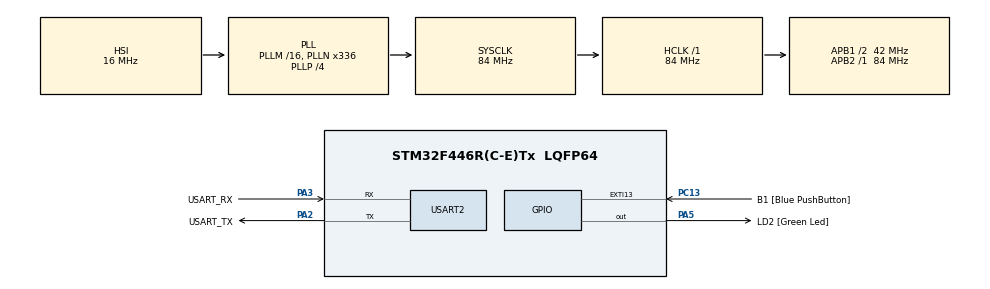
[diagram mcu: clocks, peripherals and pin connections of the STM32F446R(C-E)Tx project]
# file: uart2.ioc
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Mcu.Family=STM32F4
Mcu.Name=STM32F446R(C-E)Tx
Mcu.Package=LQFP64
NVIC.PriorityGroup=NVIC_PRIORITYGROUP_0
PA13.GPIO_Label=TMS
PA13.Mode=Serial_Wire
PA13.Signal=SYS_JTMS-SWDIO
PA14.GPIO_Label=TCK
PA14.Mode=Serial_Wire
PA14.Signal=SYS_JTCK-SWCLK
PA2.GPIO_Label=USART_TX
PA2.Mode=Asynchronous
PA2.Signal=USART2_TX
PA3.GPIO_Label=USART_RX
PA3.Mode=Asynchronous
PA3.Signal=USART2_RX
PA5.GPIO_Label=LD2 [Green Led]
PA5.Signal=GPIO_Output
PB3.GPIO_Label=SWO
PB3.Signal=SYS_JTDO-SWO
PC13.GPIO_Label=B1 [Blue PushButton]
PC13.GPIO_ModeDefaultEXTI=GPIO_MODE_IT_FALLING
PC13.Signal=GPXTI13
PC14-OSC32_IN.Mode=LSE-External-Oscillator
PC14-OSC32_IN.Signal=RCC_OSC32_IN
PC15-OSC32_OUT.Mode=LSE-External-Oscillator
PC15-OSC32_OUT.Signal=RCC_OSC32_OUT
PH0-OSC_IN.Mode=HSE-External-Oscillator
PH0-OSC_IN.Signal=RCC_OSC_IN
PH1-OSC_OUT.Mode=HSE-External-Oscillator
PH1-OSC_OUT.Signal=RCC_OSC_OUT
ProjectManager.HeapSize=0x200
ProjectManager.StackSize=0x400
ProjectManager.TargetToolchain=STM32CubeIDE
RCC.48MHZClocksFreq_Value=84000000
RCC.AHBFreq_Value=84000000
RCC.APB1CLKDivider=RCC_HCLK_DIV2
RCC.APB1Freq_Value=42000000
RCC.APB1TimFreq_Value=84000000
RCC.APB2Freq_Value=84000000
RCC.APB2TimFreq_Value=84000000
RCC.CortexFreq_Value=84000000
RCC.FLatency-AdvancedSettings=FLASH_LATENCY_2
RCC.HCLKFreq_Value=84000000
RCC.HSE_VALUE=8000000
RCC.HSI_VALUE=16000000
RCC.PLLN=336
RCC.PLLP=RCC_PLLP_DIV4
RCC.SYSCLKFreq_VALUE=84000000
RCC.SYSCLKSource=RCC_SYSCLKSOURCE_PLLCLK
RCC.USBFreq_Value=168000000
RCC.VCOOutputFreq_Value=336000000
USART2.VirtualMode=VM_ASYNC
board=NUCLEO-F446RE

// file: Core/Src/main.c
/* USER CODE BEGIN Header */
/**
 ******************************************************************************
 * @file           : main.c
 * @brief          : Main program body
 ******************************************************************************
 * @attention
 *
 * Copyright (c) 2025 STMicroelectronics.
 * All rights reserved.
 *
 * This software is licensed under terms that can be found in the LICENSE file
 * in the root directory of this software component.
 * If no LICENSE file comes with this software, it is provided AS-IS.
 *
 ******************************************************************************
 */
/* USER CODE END Header */
#include "main.h"
#include "API_delay.h"
#include "API_debounce.h"
#include <string.h>
#include <stdint.h>
#include <stdio.h>
#include <stdlib.h>

/* USER CODE BEGIN PM */
#define TIEMPO_500_MS 500
#define TIEMPO_100_MS 100
#define BUTTON_PIN GPIO_PIN_13
#define BUTTON_PORT GPIOC
#define LED_PIN GPIO_PIN_5
#define LED_PORT GPIOA

#define PROMPT	"\r\nEnter an option: "
#define WELCOME_MSG  "\r\nWelcome to the Nucleo management console\r"
#define MAIN_MENU  "\r\nSelect the option you are interested in:\r" \
                   "\r\n  1. Toggle LD2 LED\r"						\
                   "\r\n  2. Read USER BUTTON status\r"             \
                   "\r\n  3. Clear screen and print this message"

/* USER CODE END PM */

UART_HandleTypeDef huart2;

void SystemClock_Config(void);
static void MX_GPIO_Init(void);
static void MX_USART2_UART_Init(void);

/* USER CODE BEGIN 0 */
void printWelcomeMessage(void);
uint8_t readUserInput(void);
uint8_t processUserInput(uint8_t opt);
/* USER CODE END 0 */

int main(void)
{

	/* USER CODE BEGIN 1 */
	uint8_t opt = 0;
	/* USER CODE END 1 */

	/* MCU Configuration--------------------------------------------------------*/

	/* Reset of all peripherals, Initializes the Flash interface and the Systick. */
	HAL_Init();

	/* Configure the system clock */
	SystemClock_Config();

	/* Initialize all configured peripherals */
	MX_GPIO_Init();
	MX_USART2_UART_Init();
	/* USER CODE BEGIN 2 */

printMessage:
	printWelcomeMessage();

	/* USER CODE END 2 */

	/* Infinite loop */
	while (1)
	{

		/* USER CODE BEGIN 3 */
		opt = readUserInput();
		processUserInput(opt);
		if (opt == 3)
		{
			goto printMessage;
		}
	}
	/* USER CODE END 3 */
}

void SystemClock_Config(void)
{
	RCC_OscInitTypeDef RCC_OscInitStruct = {0};
	RCC_ClkInitTypeDef RCC_ClkInitStruct = {0};

	/** Configure the main internal regulator output voltage
	 */
	__HAL_RCC_PWR_CLK_ENABLE();
	__HAL_PWR_VOLTAGESCALING_CONFIG(PWR_REGULATOR_VOLTAGE_SCALE3);

	/** Initializes the RCC Oscillators according to the specified parameters
	 * in the RCC_OscInitTypeDef structure.
	 */
	RCC_OscInitStruct.OscillatorType = RCC_OSCILLATORTYPE_HSI;
	RCC_OscInitStruct.HSIState = RCC_HSI_ON;
	RCC_OscInitStruct.HSICalibrationValue = RCC_HSICALIBRATION_DEFAULT;
	RCC_OscInitStruct.PLL.PLLState = RCC_PLL_ON;
	RCC_OscInitStruct.PLL.PLLSource = RCC_PLLSOURCE_HSI;
	RCC_OscInitStruct.PLL.PLLM = 16;
	RCC_OscInitStruct.PLL.PLLN = 336;
	RCC_OscInitStruct.PLL.PLLP = RCC_PLLP_DIV4;
	RCC_OscInitStruct.PLL.PLLQ = 2;
	RCC_OscInitStruct.PLL.PLLR = 2;
	if (HAL_RCC_OscConfig(&RCC_OscInitStruct) != HAL_OK)
	{
		Error_Handler();
	}

	/** Initializes the CPU, AHB and APB buses clocks
	 */
	RCC_ClkInitStruct.ClockType = RCC_CLOCKTYPE_HCLK|RCC_CLOCKTYPE_SYSCLK
			|RCC_CLOCKTYPE_PCLK1|RCC_CLOCKTYPE_PCLK2;
	RCC_ClkInitStruct.SYSCLKSource = RCC_SYSCLKSOURCE_PLLCLK;
	RCC_ClkInitStruct.AHBCLKDivider = RCC_SYSCLK_DIV1;
	RCC_ClkInitStruct.APB1CLKDivider = RCC_HCLK_DIV2;
	RCC_ClkInitStruct.APB2CLKDivider = RCC_HCLK_DIV1;

	if (HAL_RCC_ClockConfig(&RCC_ClkInitStruct, FLASH_LATENCY_2) != HAL_OK)
	{
		Error_Handler();
	}
}

static void MX_USART2_UART_Init(void)
{

	huart2.Instance = USART2;
	huart2.Init.BaudRate = 115200;
	huart2.Init.WordLength = UART_WORDLENGTH_8B;
	huart2.Init.StopBits = UART_STOPBITS_1;
	huart2.Init.Parity = UART_PARITY_NONE;
	huart2.Init.Mode = UART_MODE_TX_RX;
	huart2.Init.HwFlowCtl = UART_HWCONTROL_NONE;
	huart2.Init.OverSampling = UART_OVERSAMPLING_16;
	if (HAL_UART_Init(&huart2) != HAL_OK)
	{
		Error_Handler();
	}

}

static void MX_GPIO_Init(void)
{
	GPIO_InitTypeDef GPIO_InitStruct = {0};

	/* GPIO Ports Clock Enable */
	__HAL_RCC_GPIOC_CLK_ENABLE();
	__HAL_RCC_GPIOH_CLK_ENABLE();
	__HAL_RCC_GPIOA_CLK_ENABLE();
	__HAL_RCC_GPIOB_CLK_ENABLE();

	/*Configure GPIO pin Output Level */
	HAL_GPIO_WritePin(LD2_GPIO_Port, LD2_Pin, GPIO_PIN_RESET);

	/*Configure GPIO pin : B1_Pin */
	GPIO_InitStruct.Pin = B1_Pin;
	GPIO_InitStruct.Mode = GPIO_MODE_IT_FALLING;
	GPIO_InitStruct.Pull = GPIO_NOPULL;
	HAL_GPIO_Init(B1_GPIO_Port, &GPIO_InitStruct);

	/*Configure GPIO pin : LD2_Pin */
	GPIO_InitStruct.Pin = LD2_Pin;
	GPIO_InitStruct.Mode = GPIO_MODE_OUTPUT_PP;
	GPIO_InitStruct.Pull = GPIO_NOPULL;
	GPIO_InitStruct.Speed = GPIO_SPEED_FREQ_LOW;
	HAL_GPIO_Init(LD2_GPIO_Port, &GPIO_InitStruct);

}

/* USER CODE BEGIN 4 */
void printWelcomeMessage(void)
{
	HAL_UART_Transmit(&huart2, (uint8_t*)"\033[0;0H", strlen("\033[0;0H"), HAL_MAX_DELAY);
	HAL_UART_Transmit(&huart2, (uint8_t*)"\033[2J", strlen("\033[2J"), HAL_MAX_DELAY);
	HAL_UART_Transmit(&huart2, (uint8_t*)WELCOME_MSG, strlen(WELCOME_MSG), HAL_MAX_DELAY);
	HAL_UART_Transmit(&huart2, (uint8_t*)MAIN_MENU, strlen(MAIN_MENU), HAL_MAX_DELAY);
}

uint8_t readUserInput(void)
{
	char readBuf[1];

	HAL_UART_Transmit(&huart2, (uint8_t*)PROMPT, strlen(PROMPT), HAL_MAX_DELAY);
	HAL_UART_Receive(&huart2, (uint8_t*)readBuf, 1, HAL_MAX_DELAY);

	return atoi(readBuf);
}

uint8_t processUserInput(uint8_t opt)
{
	char msg[30];

	    if(!opt || opt > 3) return 0;  // Si el valor no es 1, 2 o 3, sale sin hacer nada.

	    sprintf(msg, "%d", opt);       // Convierte el número ingresado a texto.
	    HAL_UART_Transmit(&huart2, (uint8_t*)msg, strlen(msg), HAL_MAX_DELAY); // Lo imprime.

	    switch(opt) {
	        case 1:
	            HAL_GPIO_TogglePin(GPIOA, GPIO_PIN_5); // Conmuta el LED conectado al pin PA5.
	            break;
	        case 2:
	            sprintf(msg, "\r\nUSER BUTTON status: %s",
	                //HAL_GPIO_ReadPin(GPIOC, GPIO_PIN_13) == GPIO_PIN_RESET ? "PRESSED" : "RELEASED");
	            	HAL_GPIO_ReadPin(GPIOA, GPIO_PIN_5) == GPIO_PIN_SET ? "ENCENDIDO" : "APAGADO");
	            HAL_UART_Transmit(&huart2, (uint8_t*)msg, strlen(msg), HAL_MAX_DELAY); // Muestra el estado del botón.
	            break;
	        case 3:
	            return 2; // Sale del switch con retorno especial, pero en este caso no se usa.
	    };

	    return 1;
}
/* USER CODE END 4 */

void Error_Handler(void)
{
	__disable_irq();
	while (1)
	{
	}
}
